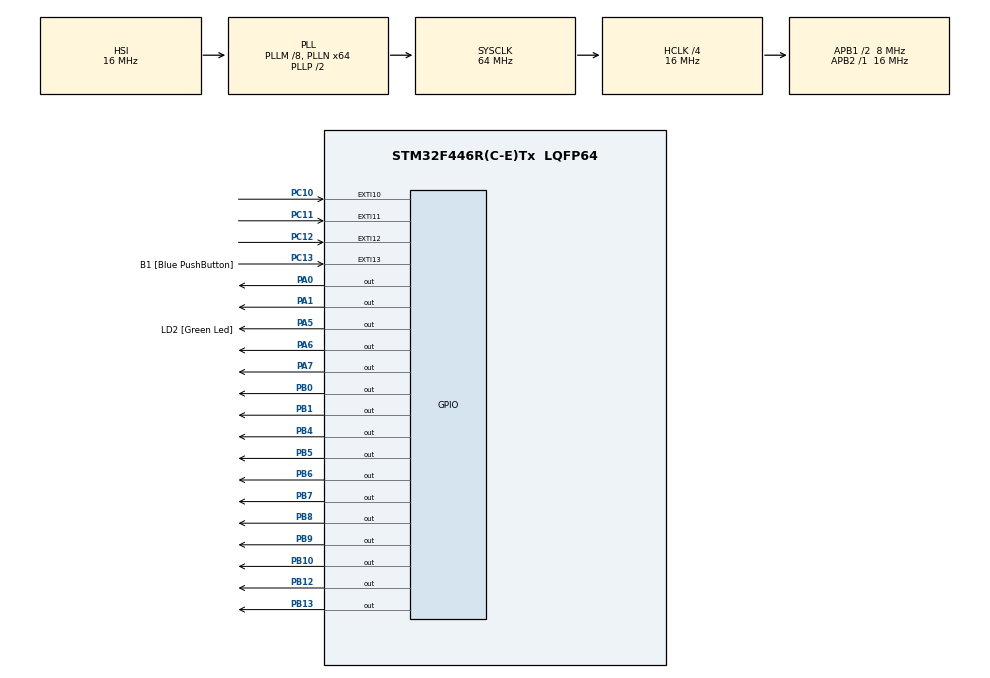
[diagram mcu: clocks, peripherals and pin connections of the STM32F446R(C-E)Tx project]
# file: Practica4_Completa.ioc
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Mcu.Family=STM32F4
Mcu.Name=STM32F446R(C-E)Tx
Mcu.Package=LQFP64
NVIC.PriorityGroup=NVIC_PRIORITYGROUP_0
PA0-WKUP.Signal=GPIO_Output
PA1.Signal=GPIO_Output
PA13.GPIO_Label=TMS
PA13.Signal=SYS_JTMS-SWDIO
PA14.GPIO_Label=TCK
PA14.Signal=SYS_JTCK-SWCLK
PA2.GPIO_Label=USART_TX
PA2.Signal=USART2_TX
PA3.GPIO_Label=USART_RX
PA3.Signal=USART2_RX
PA5.GPIO_Label=LD2 [Green Led]
PA5.Signal=GPIO_Output
PA6.Signal=GPIO_Output
PA7.Signal=GPIO_Output
PB0.Signal=GPIO_Output
PB1.Signal=GPIO_Output
PB10.Signal=GPIO_Output
PB12.Signal=GPIO_Output
PB13.Signal=GPIO_Output
PB3.GPIO_Label=SWO
PB3.Signal=SYS_JTDO-SWO
PB4.Signal=GPIO_Output
PB5.Signal=GPIO_Output
PB6.Signal=GPIO_Output
PB7.Signal=GPIO_Output
PB8.Signal=GPIO_Output
PB9.Signal=GPIO_Output
PC10.GPIO_ModeDefaultEXTI=GPIO_MODE_IT_FALLING
PC10.GPIO_PuPd=GPIO_PULLUP
PC10.Signal=GPXTI10
PC11.GPIO_ModeDefaultEXTI=GPIO_MODE_IT_FALLING
PC11.GPIO_PuPd=GPIO_PULLUP
PC11.Signal=GPXTI11
PC12.GPIO_ModeDefaultEXTI=GPIO_MODE_IT_FALLING
PC12.GPIO_PuPd=GPIO_PULLUP
PC12.Signal=GPXTI12
PC13.GPIO_Label=B1 [Blue PushButton]
PC13.GPIO_ModeDefaultEXTI=GPIO_MODE_IT_FALLING
PC13.Signal=GPXTI13
PC14-OSC32_IN.Signal=RCC_OSC32_IN
PC15-OSC32_OUT.Signal=RCC_OSC32_OUT
PH0-OSC_IN.Signal=RCC_OSC_IN
PH1-OSC_OUT.Signal=RCC_OSC_OUT
ProjectManager.HeapSize=0x200
ProjectManager.StackSize=0x400
ProjectManager.TargetToolchain=STM32CubeIDE
RCC.AHBCLKDivider=RCC_SYSCLK_DIV4
RCC.AHBFreq_Value=16000000
RCC.APB1CLKDivider=RCC_HCLK_DIV2
RCC.APB1Freq_Value=8000000
RCC.APB1TimFreq_Value=16000000
RCC.APB2Freq_Value=16000000
RCC.APB2TimFreq_Value=16000000
RCC.CortexFreq_Value=16000000
RCC.FLatency-AdvancedSettings=FLASH_LATENCY_0
RCC.HCLKFreq_Value=16000000
RCC.HSE_VALUE=8000000
RCC.HSI_VALUE=16000000
RCC.LSE_VALUE=32768
RCC.PLLM=8
RCC.PLLN=64
RCC.SYSCLKFreq_VALUE=64000000
RCC.SYSCLKSource=RCC_SYSCLKSOURCE_PLLCLK
RCC.USBFreq_Value=64000000
RCC.VCOOutputFreq_Value=128000000
board=NUCLEO-F446RE

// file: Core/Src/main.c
/* USER CODE BEGIN Header */
/**
  ******************************************************************************
  * @file           : main.c
  * @brief          : Main program body
  ******************************************************************************
  * @attention
  *
  * Copyright (c) 2026 STMicroelectronics.
  * All rights reserved.
  *
  * This software is licensed under terms that can be found in the LICENSE file
  * in the root directory of this software component.
  * If no LICENSE file comes with this software, it is provided AS-IS.
  *
  ******************************************************************************
  */
/* USER CODE END Header */
#include "main.h"

/* USER CODE BEGIN PV */
typedef enum {
    ESTADO_ESPERA = 0,
    ESTADO_CUENTA_REGRESIVA,
    ESTADO_CARRERA,
    ESTADO_FIN
} EstadoJuego;

volatile EstadoJuego estado = ESTADO_ESPERA;

volatile uint8_t contadorJ1 = 0;
volatile uint8_t contadorJ2 = 0;

// Antirrebote
#define DEBOUNCE_MS 100U
volatile uint32_t tiempoInicio = 0;
volatile uint32_t tiempoJ1 = 0;
volatile uint32_t tiempoJ2 = 0;

// Cuenta regresiva
#define INTERVALO_CUENTA_MS 1000U
volatile int8_t  numeroCuenta = 5;
volatile uint32_t tiempoCuentaRegresiva = 0;

// LEDs jugador 1 (PA0, PA1, PA6, PA7)
GPIO_TypeDef* ledJ1_port[4] = {GPIOA, GPIOA, GPIOA, GPIOA};
const uint16_t ledJ1_pin[4] = {GPIO_PIN_0, GPIO_PIN_1, GPIO_PIN_6, GPIO_PIN_7};

// LEDs jugador 2 (PB0, PB1, PB4, PB5)
GPIO_TypeDef* ledJ2_port[4] = {GPIOB, GPIOB, GPIOB, GPIOB};
const uint16_t ledJ2_pin[4] = {GPIO_PIN_0, GPIO_PIN_1, GPIO_PIN_4, GPIO_PIN_5};

// Display 7 segmentos a,b,c,d,e,f,g
GPIO_TypeDef* segPort[7] = {GPIOB, GPIOB, GPIOB, GPIOB, GPIOB, GPIOB, GPIOB};
const uint16_t segPin[7] = {GPIO_PIN_6, GPIO_PIN_7, GPIO_PIN_8, GPIO_PIN_9,
                             GPIO_PIN_10, GPIO_PIN_12, GPIO_PIN_13};
/* USER CODE END PV */

void SystemClock_Config(void);
static void MX_GPIO_Init(void);
/* USER CODE BEGIN PFP */
void ActualizarLedsJ1(uint8_t contador);
void ActualizarLedsJ2(uint8_t contador);
void MostrarDigito(uint8_t n);
void ProcesarCuentaRegresiva(void);
/* USER CODE END PFP */

int main(void)
{

  /* MCU Configuration--------------------------------------------------------*/

  /* Reset of all peripherals, Initializes the Flash interface and the Systick. */
  HAL_Init();

  /* Configure the system clock */
  SystemClock_Config();

  /* Initialize all configured peripherals */
  MX_GPIO_Init();

  /* Infinite loop */
  while (1)
  {

    /* USER CODE BEGIN 3 */
	  ProcesarCuentaRegresiva();
  }
  /* USER CODE END 3 */
}

void SystemClock_Config(void)
{
  RCC_OscInitTypeDef RCC_OscInitStruct = {0};
  RCC_ClkInitTypeDef RCC_ClkInitStruct = {0};

  /** Configure the main internal regulator output voltage
  */
  __HAL_RCC_PWR_CLK_ENABLE();
  __HAL_PWR_VOLTAGESCALING_CONFIG(PWR_REGULATOR_VOLTAGE_SCALE3);

  /** Initializes the RCC Oscillators according to the specified parameters
  * in the RCC_OscInitTypeDef structure.
  */
  RCC_OscInitStruct.OscillatorType = RCC_OSCILLATORTYPE_HSI;
  RCC_OscInitStruct.HSIState = RCC_HSI_ON;
  RCC_OscInitStruct.HSICalibrationValue = RCC_HSICALIBRATION_DEFAULT;
  RCC_OscInitStruct.PLL.PLLState = RCC_PLL_ON;
  RCC_OscInitStruct.PLL.PLLSource = RCC_PLLSOURCE_HSI;
  RCC_OscInitStruct.PLL.PLLM = 8;
  RCC_OscInitStruct.PLL.PLLN = 64;
  RCC_OscInitStruct.PLL.PLLP = RCC_PLLP_DIV2;
  RCC_OscInitStruct.PLL.PLLQ = 2;
  RCC_OscInitStruct.PLL.PLLR = 2;
  if (HAL_RCC_OscConfig(&RCC_OscInitStruct) != HAL_OK)
  {
    Error_Handler();
  }

  /** Initializes the CPU, AHB and APB buses clocks
  */
  RCC_ClkInitStruct.ClockType = RCC_CLOCKTYPE_HCLK|RCC_CLOCKTYPE_SYSCLK
                              |RCC_CLOCKTYPE_PCLK1|RCC_CLOCKTYPE_PCLK2;
  RCC_ClkInitStruct.SYSCLKSource = RCC_SYSCLKSOURCE_PLLCLK;
  RCC_ClkInitStruct.AHBCLKDivider = RCC_SYSCLK_DIV4;
  RCC_ClkInitStruct.APB1CLKDivider = RCC_HCLK_DIV2;
  RCC_ClkInitStruct.APB2CLKDivider = RCC_HCLK_DIV1;

  if (HAL_RCC_ClockConfig(&RCC_ClkInitStruct, FLASH_LATENCY_0) != HAL_OK)
  {
    Error_Handler();
  }
}

static void MX_GPIO_Init(void)
{
  GPIO_InitTypeDef GPIO_InitStruct = {0};

  /* GPIO Ports Clock Enable */
  __HAL_RCC_GPIOC_CLK_ENABLE();
  __HAL_RCC_GPIOH_CLK_ENABLE();
  __HAL_RCC_GPIOA_CLK_ENABLE();
  __HAL_RCC_GPIOB_CLK_ENABLE();

  /*Configure GPIO pin Output Level */
  HAL_GPIO_WritePin(GPIOA, GPIO_PIN_0|GPIO_PIN_1|LD2_Pin|GPIO_PIN_6
                          |GPIO_PIN_7, GPIO_PIN_RESET);

  /*Configure GPIO pin Output Level */
  HAL_GPIO_WritePin(GPIOB, GPIO_PIN_0|GPIO_PIN_1|GPIO_PIN_10|GPIO_PIN_12
                          |GPIO_PIN_13|GPIO_PIN_4|GPIO_PIN_5|GPIO_PIN_6
                          |GPIO_PIN_7|GPIO_PIN_8|GPIO_PIN_9, GPIO_PIN_RESET);

  /*Configure GPIO pin : B1_Pin */
  GPIO_InitStruct.Pin = B1_Pin;
  GPIO_InitStruct.Mode = GPIO_MODE_IT_FALLING;
  GPIO_InitStruct.Pull = GPIO_NOPULL;
  HAL_GPIO_Init(B1_GPIO_Port, &GPIO_InitStruct);

  /*Configure GPIO pins : PA0 PA1 LD2_Pin PA6
                           PA7 */
  GPIO_InitStruct.Pin = GPIO_PIN_0|GPIO_PIN_1|LD2_Pin|GPIO_PIN_6
                          |GPIO_PIN_7;
  GPIO_InitStruct.Mode = GPIO_MODE_OUTPUT_PP;
  GPIO_InitStruct.Pull = GPIO_NOPULL;
  GPIO_InitStruct.Speed = GPIO_SPEED_FREQ_LOW;
  HAL_GPIO_Init(GPIOA, &GPIO_InitStruct);

  /*Configure GPIO pins : USART_TX_Pin USART_RX_Pin */
  GPIO_InitStruct.Pin = USART_TX_Pin|USART_RX_Pin;
  GPIO_InitStruct.Mode = GPIO_MODE_AF_PP;
  GPIO_InitStruct.Pull = GPIO_NOPULL;
  GPIO_InitStruct.Speed = GPIO_SPEED_FREQ_VERY_HIGH;
  GPIO_InitStruct.Alternate = GPIO_AF7_USART2;
  HAL_GPIO_Init(GPIOA, &GPIO_InitStruct);

  /*Configure GPIO pins : PB0 PB1 PB10 PB12
                           PB13 PB4 PB5 PB6
                           PB7 PB8 PB9 */
  GPIO_InitStruct.Pin = GPIO_PIN_0|GPIO_PIN_1|GPIO_PIN_10|GPIO_PIN_12
                          |GPIO_PIN_13|GPIO_PIN_4|GPIO_PIN_5|GPIO_PIN_6
                          |GPIO_PIN_7|GPIO_PIN_8|GPIO_PIN_9;
  GPIO_InitStruct.Mode = GPIO_MODE_OUTPUT_PP;
  GPIO_InitStruct.Pull = GPIO_NOPULL;
  GPIO_InitStruct.Speed = GPIO_SPEED_FREQ_LOW;
  HAL_GPIO_Init(GPIOB, &GPIO_InitStruct);

  /*Configure GPIO pins : PC10 PC11 PC12 */
  GPIO_InitStruct.Pin = GPIO_PIN_10|GPIO_PIN_11|GPIO_PIN_12;
  GPIO_InitStruct.Mode = GPIO_MODE_IT_FALLING;
  GPIO_InitStruct.Pull = GPIO_PULLUP;
  HAL_GPIO_Init(GPIOC, &GPIO_InitStruct);

  /* USER CODE BEGIN MX_GPIO_Init_2 */

  HAL_NVIC_SetPriority(EXTI15_10_IRQn, 0, 0);
  HAL_NVIC_EnableIRQ(EXTI15_10_IRQn);

  /* USER CODE END MX_GPIO_Init_2 */
}

/* USER CODE BEGIN 4 */
void ActualizarLedsJ1(uint8_t contador)
{
    for (uint8_t i = 0; i < 4; i++)
    {
        if (i < contador)
        {
            HAL_GPIO_WritePin(ledJ1_port[i], ledJ1_pin[i], GPIO_PIN_SET);
        }
        else
        {
            HAL_GPIO_WritePin(ledJ1_port[i], ledJ1_pin[i], GPIO_PIN_RESET);
        }
    }
}

void ActualizarLedsJ2(uint8_t contador)
{
    for (uint8_t i = 0; i < 4; i++)
    {
    	if (i < contador)
    	{
    		HAL_GPIO_WritePin(ledJ2_port[i], ledJ2_pin[i], GPIO_PIN_SET);
    	}
    	else
    	{
    		HAL_GPIO_WritePin(ledJ2_port[i], ledJ2_pin[i], GPIO_PIN_RESET);
    	}
    }
}

/* Patrones a,b,c,d,e,f,g -- asume cátodo común (1 = segmento ON).
   Si tu display es ánodo común, invierte la lógica: usa GPIO_PIN_RESET
   cuando el patrón valga 1, y GPIO_PIN_SET cuando valga 0. */
void MostrarDigito(uint8_t n)
{
    static const uint8_t patrones[6][7] = {
      /* a  b  c  d  e  f  g */
        {1, 1, 1, 1, 1, 1, 0}, // 0
        {0, 1, 1, 0, 0, 0, 0}, // 1
        {1, 1, 0, 1, 1, 0, 1}, // 2
        {1, 1, 1, 1, 0, 0, 1}, // 3
        {0, 1, 1, 0, 0, 1, 1}, // 4
        {1, 0, 1, 1, 0, 1, 1}, // 5
    };

    if (n > 5) return;

    for (uint8_t i = 0; i < 7; i++)
    {
        if (patrones[n][i])
        {
            HAL_GPIO_WritePin(segPort[i], segPin[i], GPIO_PIN_SET);
        }
        else
        {
            HAL_GPIO_WritePin(segPort[i], segPin[i], GPIO_PIN_RESET);
        }
    }
}

/* Se llama en cada vuelta del while(1) principal. No bloquea nada. */
void ProcesarCuentaRegresiva(void)
{
    if (estado != ESTADO_CUENTA_REGRESIVA) return;

    if ((HAL_GetTick() - tiempoCuentaRegresiva) >= INTERVALO_CUENTA_MS)
    {
        tiempoCuentaRegresiva = HAL_GetTick();

        if (numeroCuenta == 0)
        {
            estado = ESTADO_CARRERA;   // fin del conteo, arranca la carrera
        }
        else
        {
            numeroCuenta--;
            MostrarDigito(numeroCuenta);
        }
    }
}

void HAL_GPIO_EXTI_Callback(uint16_t GPIO_Pin)
{
    uint32_t ahora = HAL_GetTick();

    /* ---------------- INICIO / REINICIO - PC10 ---------------- */
    if (GPIO_Pin == GPIO_PIN_10)
    {
        if ((ahora - tiempoInicio) >= DEBOUNCE_MS &&
            HAL_GPIO_ReadPin(GPIOC, GPIO_PIN_10) == GPIO_PIN_RESET)
        {
            tiempoInicio = ahora;

            if (estado == ESTADO_ESPERA || estado == ESTADO_FIN)
            {
                contadorJ1 = 0;
                contadorJ2 = 0;
                ActualizarLedsJ1(0);
                ActualizarLedsJ2(0);

                numeroCuenta = 5;
                MostrarDigito(numeroCuenta);
                tiempoCuentaRegresiva = ahora;

                estado = ESTADO_CUENTA_REGRESIVA;
            }
        }
    }

    /* ---------------- JUGADOR 1 - PC11 ---------------- */
    else if (GPIO_Pin == GPIO_PIN_11)
    {
        if ((ahora - tiempoJ1) >= DEBOUNCE_MS &&
            HAL_GPIO_ReadPin(GPIOC, GPIO_PIN_11) == GPIO_PIN_RESET)
        {
            tiempoJ1 = ahora;

            if (estado == ESTADO_CARRERA && contadorJ1 < 4)
            {
                contadorJ1++;
                ActualizarLedsJ1(contadorJ1);

                if (contadorJ1 == 4)
                {
                    ActualizarLedsJ2(0);   // apaga al contrario
                    MostrarDigito(1);      // "1" = ganó J1
                    estado = ESTADO_FIN;
                }
            }
        }
    }

    /* ---------------- JUGADOR 2 - PC12 ---------------- */
    else if (GPIO_Pin == GPIO_PIN_12)
    {
        if ((ahora - tiempoJ2) >= DEBOUNCE_MS &&
            HAL_GPIO_ReadPin(GPIOC, GPIO_PIN_12) == GPIO_PIN_RESET)
        {
            tiempoJ2 = ahora;

            if (estado == ESTADO_CARRERA && contadorJ2 < 4)
            {
                contadorJ2++;
                ActualizarLedsJ2(contadorJ2);

                if (contadorJ2 == 4)
                {
                    ActualizarLedsJ1(0);   // apaga al contrario
                    MostrarDigito(2);      // "2" = ganó J2
                    estado = ESTADO_FIN;
                }
            }
        }
    }
}

/* USER CODE END 4 */

void Error_Handler(void)
{
  __disable_irq();
  while (1)
  {
  }
}
